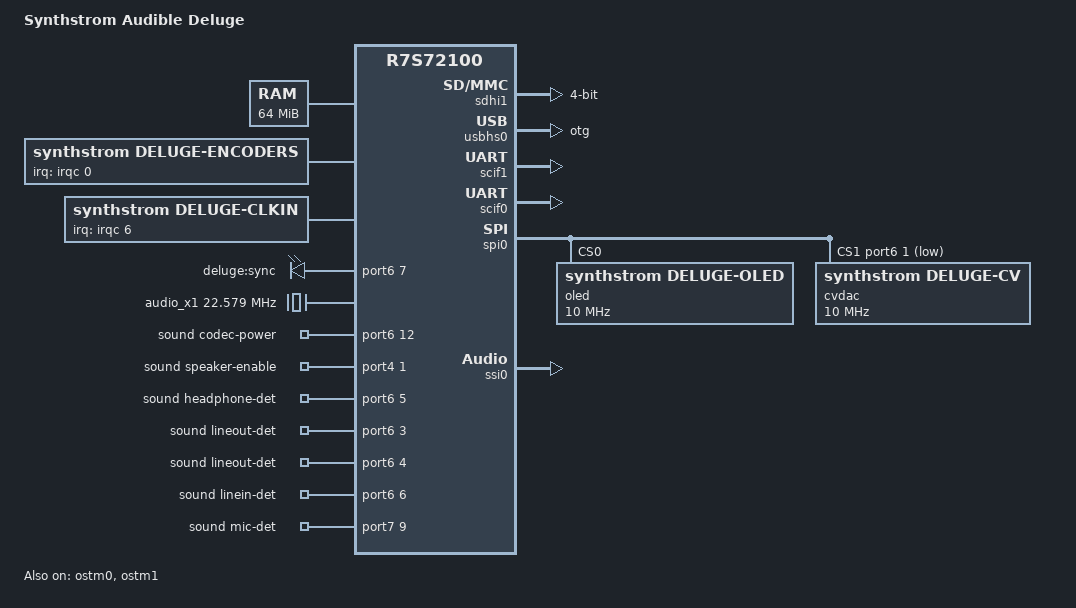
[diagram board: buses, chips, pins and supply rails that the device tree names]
// SPDX-License-Identifier: GPL-2.0
/*
 * Device tree for the Synthstrom Audible Deluge (Renesas RZ/A1L, R7S72102).
 *
 * Full board: SD boot (sdhi1), USB (usbhs0), the PIC32 front-panel link
 * (scif1, pads/buttons/LEDs/7-seg/OLED all mediated through it), DIN MIDI
 * (scif0), 6 rotary encoders, analog clock input (clkin), CV/gate, the RGB
 * pad grid, and the SSI0 audio path — no UART is wired out on this board, so
 * the console is a SEGGER RTT block in SRAM read by J-Link, matching U-Boot.
 *
 * Cortex-A9 @ ~400 MHz, 64 MB SDRAM at 0x0C000000 (CS3), 13.2256 MHz crystal.
 */

/dts-v1/;
#include "r7s72100.dtsi"
#include <dt-bindings/pinctrl/r7s72100-pinctrl.h>
#include <dt-bindings/interrupt-controller/irq.h>
#include <dt-bindings/interrupt-controller/arm-gic.h>
#include <dt-bindings/gpio/gpio.h>

/ {
	model = "Synthstrom Audible Deluge";
	compatible = "synthstrom,deluge", "renesas,r7s72100";

	memory@c000000 {
		device_type = "memory";
		reg = <0x0c000000 0x04000000>;	/* 64 MB SDRAM on CS3 */
	};

	chosen {
		/*
		 * RTT earlycon: writes to the SEGGER RTT block at SRAM
		 * 0x20080000 (set up by U-Boot), read by J-Link in the
		 * background, and stays active as the console. No UART is
		 * wired out on this board.
		 */
		bootargs = "earlycon=rtt,0x20080000 ignore_loglevel";
	};
};

/* Deluge crystal is 13.2256 MHz (genmai/rskrza1 use 13.33 MHz). */
&extal_clk {
	clock-frequency = <13225600>;
};

/* Dedicated 48 MHz USB clock (USB_X1). The renesas_usbhs RZ/A1 init
 * (drivers/usb/renesas_usbhs/rza.c) requires either a non-zero usb_x1
 * clock-frequency (→ UCKSEL=0, 48 MHz USB_X1) or extal==12 MHz; our EXTAL is
 * 13.2256 MHz, so the USB clock MUST come from usb_x1 or the UDC probe fails
 * with "A 48MHz USB clock or 12MHz main clock is required." */
&usb_x1_clk {
	clock-frequency = <48000000>;
};

/* OSTM timers: the renesas-ostm driver makes the FIRST enabled OSTM the
 * clocksource and the SECOND the clockevent. Both are required — with only
 * ostm0 there is no hardware tick, so jiffies-based delays (msleep, usleep,
 * userspace sleep) stall and drivers that wait on them (e.g. MMC card
 * enumeration) never progress. Enable both, like the rskrza1 reference. */
&ostm0 {
	status = "okay";		/* clocksource */
};

&ostm1 {
	status = "okay";		/* clockevent (system tick) */
};

/* DMAC is the mainline "renesas,rz-dmac" node (#dma-cells=1), no nbpf override.
 * PIC (SCIF1) uses an rz-dmac slave_sg channel; MIDI (SCIF0) uses the SCIF
 * RXI/TXI GIC interrupts (no DMA) — so nothing needs nbpf's cyclic mode.
 *
 * Cap rz-dmac at 6 channels (ch0-5) so it does NOT claim ch6/7: deluge-ssi
 * raw-drives those for SSI0 TX/RX and owns their DMAINT (transfer-end)
 * interrupts directly. This matches the historical split ("nbpf keeps ch0-5;
 * we own ch6"). The PIC still gets a channel out of ch0-5. */
&dmac {
	dma-channels = <6>;
};

/*
 * On-chip large-capacity RAM (3 MB total @ 0x20000000). The bottom 1 MB
 * (0x20000000, incl. the 128 KB data-retention RAM and the SEGGER RTT console
 * block @ 0x20080000) is left alone. The upper 2 MB is split:
 *
 *  - 0x20100000, 1 MB: non-cached DMA gen_pool (mmio-sram). no-memory-wc =
 *    strictly non-cached, so allocations are DMA-coherent without barriers AND
 *    deterministic 0-wait for the RT audio path. Consumers (deluge-ssi,
 *    deluge-pic) take DMA descriptors and buffers from here to keep continuous
 *    DMA off the contended SDRAM bus (~75 KB used; 1 MB is ample headroom).
 *
 *  - 0x20200000, 1 MB: CACHED userspace scratch, handed to the Spark synth via
 *    /dev/deluge-sram (deluge-sram driver) for hot DSP data. Disjoint from the
 *    non-cached pool above — the two must NOT overlap, as mismatched cache
 *    attributes on the same physical address are UNPREDICTABLE on ARM.
 */
/ {
	sram: sram@20100000 {
		compatible = "mmio-sram";
		reg = <0x20100000 0x100000>;
		no-memory-wc;
		#address-cells = <1>;
		#size-cells = <1>;
		ranges = <0 0x20100000 0x100000>;
	};

	deluge_sram: sram-user@20200000 {
		compatible = "synthstrom,deluge-sram";
		reg = <0x20200000 0x100000>;
	};
};

/* SD card slot: SDHI1, 4-bit, on Port 7 alt-func 3 (the Deluge differs from
 * the rskrza1 reference, which puts SDHI1 on Port 3 func 7). Card-detect and
 * write-protect are native SDHI controller pins (SD_CD_1/SD_WP_1) read from
 * SD_INFO1 — no cd-gpios/wp-gpios. Card power is fixed 3.3 V in hardware (no
 * regulator/GPIO). SDK caps the clock at P1/4 ~= 16.7 MHz and does no HS
 * switch, so we bound max-frequency to the known-good rate. Source facts:
 * deluge-sdk crates/deluge-bsp/src/sd.rs + rza1l-hal/src/sdhi.rs. */
&pinctrl {
	sdhi1_pins: sdhi1 {
		pinmux = <RZA1_PINMUX(7, 0, 3)>,	/* SD_CD_1  */
			 <RZA1_PINMUX(7, 1, 3)>,	/* SD_WP_1  */
			 <RZA1_PINMUX(7, 2, 3)>,	/* SD_D1_1  */
			 <RZA1_PINMUX(7, 3, 3)>,	/* SD_D0_1  */
			 <RZA1_PINMUX(7, 4, 3)>,	/* SD_CLK_1 */
			 <RZA1_PINMUX(7, 5, 3)>,	/* SD_CMD_1 */
			 <RZA1_PINMUX(7, 6, 3)>,	/* SD_D3_1  */
			 <RZA1_PINMUX(7, 7, 3)>;	/* SD_D2_1  */
	};
};

&sdhi1 {
	pinctrl-names = "default";
	pinctrl-0 = <&sdhi1_pins>;
	bus-width = <4>;
	max-frequency = <16700000>;
	status = "okay";
};

/* USB channel 0 (the physical jack) as a peripheral/gadget: renesas_usbhs UDC
 * for a CDC-ACM console. Self-powered, VBUS sense-only (no vbus-supply), USB
 * pins are dedicated analog (no pinctrl). Role is software (DCFM) -> peripheral.
 * The Deluge jack is on channel 0 (usbhs0 @ 0xe8010000); usbhs1 is unused. */
&usbhs0 {
	/* Dual-role: renesas_usbhs ignores dr_mode and chooses the role via the
	 * "role" sysfs attribute (default = peripheral). "otg" is the honest
	 * description of the port's capability; the board supplies VBUS
	 * unconditionally from a step-down off the barrel jack. */
	dr_mode = "otg";
	status = "okay";
};

/* Rotary encoders: 6 encoders on port P1. Each has phase A on an IRQC
 * external-interrupt line (mux 2 = IRQ function) and phase B on a plain P1 GPIO
 * read from the port register. Custom driver (synthstrom,deluge-encoders) —
 * mainline rotary-encoder needs an IRQ per phase and the RZ/A1 has only 8 IRQ
 * lines. No bias: the board provides external pulls. */
&pinctrl {
	encoder_pins: encoders {
		pinmux = <RZA1_PINMUX(1, 8,  2)>,	/* scroll_y A / IRQ0 */
			 <RZA1_PINMUX(1, 5,  2)>,	/* mod1 A     / IRQ1 */
			 <RZA1_PINMUX(1, 6,  2)>,	/* tempo A    / IRQ2 */
			 <RZA1_PINMUX(1, 11, 2)>,	/* scroll_x A / IRQ3 */
			 <RZA1_PINMUX(1, 0,  2)>,	/* mod0 A     / IRQ4 */
			 <RZA1_PINMUX(1, 3,  2)>;	/* select A   / IRQ7 */
	};
};

/ {
	encoders {
		compatible = "synthstrom,deluge-encoders";
		/* RZ/A1 P1 Port Pin Read register (pinctrl@fcfe3000 + 0x204); read
		 * directly for encoder phase A/B levels (pin is IRQ-muxed, so gpiod
		 * can't read it). Region owned by pinctrl, so the driver ioremaps
		 * without claiming it. */
		synthstrom,port-read-reg = <0xfcfe3204>;
		pinctrl-names = "default";
		pinctrl-0 = <&encoder_pins>;
		interrupt-parent = <&irqc>;
		interrupts = <0 IRQ_TYPE_EDGE_BOTH>,	/* scroll_y */
			     <1 IRQ_TYPE_EDGE_BOTH>,	/* mod1 */
			     <2 IRQ_TYPE_EDGE_BOTH>,	/* tempo */
			     <3 IRQ_TYPE_EDGE_BOTH>,	/* scroll_x */
			     <4 IRQ_TYPE_EDGE_BOTH>,	/* mod0 */
			     <7 IRQ_TYPE_EDGE_BOTH>;	/* select */
	};
};

/* PIC32 front-panel link: SCIF1 @ 200000 (after a 31250 handshake). The
 * PIC owns the 144 pads, 36 buttons, LEDs and 7-seg; it talks a flat byte stream
 * over SCIF1. A serdev driver (synthstrom,deluge-pic) decodes pads+buttons into
 * an evdev device. TxD1=P3.15 mux5, RxD1=P1.9 mux3 (no conflict with encoders).
 * Must NOT be a console so serdev can claim it. */
&pinctrl {
	scif1_pins: scif1 {
		pinmux = <RZA1_PINMUX(3, 15, 5)>,	/* TxD1 */
			 <RZA1_PINMUX(1, 9,  3)>;	/* RxD1 */
	};
};

&pinctrl {
	clkin_pins: clkin {
		pinmux = <RZA1_PINMUX(1, 14, 2)>;	/* P1.14 alt-2 = IRQ6 */
	};
};

/ {
	/* Analog clock input: P1.14 -> IRQC IRQ6, falling edge (transistor
	 * inverts the external pulse). Emitted as evdev EV_MSC/MSC_RAW, one event
	 * per pulse. */
	clkin {
		compatible = "synthstrom,deluge-clkin";
		pinctrl-names = "default";
		pinctrl-0 = <&clkin_pins>;
		interrupt-parent = <&irqc>;
		interrupts = <6 IRQ_TYPE_EDGE_FALLING>;
	};
};

/* Gate outputs (V-trig, active-low: 0 = gate ON). Exposed as named GPIO
 * character-device lines; userspace claims them active-low via the GPIO v2 uAPI.
 * P2.7/8/9 = gate0/1/2, P4.0 = gate3. */
&port2 {
	gpio-line-names =
		"", "", "", "", "", "", "",
		"deluge-gate0",		/* P2.7 */
		"deluge-gate1",		/* P2.8 */
		"deluge-gate2";		/* P2.9 */
};

&port4 {
	gpio-line-names = "deluge-gate3";	/* P4.0 */
};

/*
 * SCIF1 drives the PIC32 front-panel. Take the node away from sh-sci by
 * overriding its compatible: the deluge-pic driver owns SCIF1 directly (its
 * registers + an rz-dmac slave_sg RX channel drained by a 1 ms poll), because
 * on RZ/A1 the SCIF RX-FIFO request is wired to the DMAC, not the GIC, and the
 * tty/serial layer could not drive that reliably. DMARS terminal 0x066 = SCIF1
 * RXI; level/high request line (encoded in the dmas config nibble).
 */
&scif1 {
	compatible = "synthstrom,deluge-pic";
	pinctrl-names = "default";
	pinctrl-0 = <&scif1_pins>;
	/* SCIF1 RXI: MID/RID 0x66 (DMARS, as nbpf used) | config 0x2C00.
	 * rz-dmac decodes cfg = args[0][15:10]: bit0->HIEN, bit1->LVL,
	 * bits[4:2]->AM. 0x2C00>>10 = 0x0B = HIEN|LVL|AM(0x200), reproducing
	 * the proven nbpf CHCFG (DMS|SAD|HIEN|LVL|AM added by the driver).
	 * The previous 0x2466 dropped LVL -> SCIF RXI (a *level* request) was
	 * sensed as an edge, so the channel armed but never drained the FIFO. */
	dmas = <&dmac 0x2C66>;
	dma-names = "rx";
	sram = <&sram>;			/* DMA RX ring in on-chip SRAM */
	status = "okay";
};

&pinctrl {
	scif0_pins: scif0 {
		pinmux = <RZA1_PINMUX(6, 15, 5)>,	/* TxD0 (MIDI OUT) */
			 <RZA1_PINMUX(6, 14, 5)>;	/* RxD0 (MIDI IN)  */
	};
};

/*
 * DIN 5-pin MIDI over SCIF0 @ 31250 bps. At this low rate the SCIF's own GIC
 * interrupts carry MIDI directly (no DMA): deluge-midi uses the RXI/TXI lines
 * (interrupts + interrupt-names inherited from the base r7s72100.dtsi scif0
 * node) and registers as an ASoC aux component on the Deluge sound card
 * (rawmidi midiC0D0). This is what lets the DMAC be pure rz-dmac (no cyclic).
 */
&scif0 {
	compatible = "synthstrom,deluge-midi";
	pinctrl-names = "default";
	pinctrl-0 = <&scif0_pins>;
	status = "okay";
};

/*
 * OLED (SSD1309) pixel bus: RSPI0, P6_0=SCK P6_2=MOSI (func 3). No MISO/SSL —
 * the display is write-only and its chip-select is mediated by the PIC, so
 * leave SSL0 unmuxed. CS/D-C/power go through the deluge-pic node (&scif1).
 */
&pinctrl {
	rspi0_pins: rspi0 {
		pinmux = <RZA1_PINMUX(6, 0, 3)>,	/* RSPCK0 (SCK)  */
			 <RZA1_PINMUX(6, 2, 3)>;	/* MOSI0  (MOSI) */
	};
};

&spi0 {
	pinctrl-names = "default";
	pinctrl-0 = <&rspi0_pins>;
	status = "okay";
	/* index 0 = OLED (native/PIC-mediated, unchanged); index 1 = CV DAC on P6.1. */
	cs-gpios = <0>, <&port6 1 GPIO_ACTIVE_LOW>;

	oled: oled@0 {
		compatible = "synthstrom,deluge-oled";
		reg = <0>;
		spi-max-frequency = <10000000>;
		synthstrom,pic = <&scif1>;	/* the deluge-pic device */
	};

	/* CV outputs: MAX5136 quad 16-bit DAC (2 channels wired). Shares the bus
	 * with the OLED; 8-bit words + gpio CS so the controller is never
	 * reconfigured. */
	cvdac: dac@1 {
		compatible = "synthstrom,deluge-cv";
		reg = <1>;
		spi-max-frequency = <10000000>;
	};
};

/*
 * Front-panel LED output: 36 indicator LEDs + 2 gold-knob 4-LED
 * columns, driven over the PIC (SCIF1 TX). LED-class consumer of deluge-pic.
 */
/ {
	deluge_leds: leds {
		compatible = "synthstrom,deluge-leds";
		synthstrom,pic = <&scif1>;
	};
};

/*
 * SYNC LED (P6_7): a plain GPIO LED, not PIC-mediated like the front-panel
 * indicators above. Exposed as /sys/class/leds/deluge:sync so libdeluge's
 * deluge_leds_sync() can drive it. Active-high (P6_7 high = lit), matching the
 * bare-metal SDK. P6_7 is otherwise unused; the RZ/A1 pinctrl gpio-ranges put
 * the pin in port mode on request, so no explicit pinmux entry is needed
 * (as with the CV-DAC / codec-power / jack-detect GPIOs).
 */
/ {
	deluge_sync_led: sync-led {
		compatible = "gpio-leds";
		led-sync {
			label = "deluge:sync";
			gpios = <&port6 7 GPIO_ACTIVE_HIGH>;
			default-state = "off";
		};
	};
};

/*
 * RGB pad grid: 18x8 pad LEDs as an fbdev, streamed to the PIC over
 * SCIF1 TX. Framebuffer consumer of deluge-pic.
 */
/ {
	deluge_pads: pads {
		compatible = "synthstrom,deluge-pads";
		synthstrom,pic = <&scif1>;
	};
};

/* ---- Audio: SSI0/SSIF0 I2S -> hardware-strapped codec ------------------ */
/* Direct SSI TX+RX DMA (no SCUX), 44.1 kHz / S24_LE / stereo, SSI master.
 * External 22.5792 MHz AUDIO_X1 crystal is the codec master clock (also the
 * SSI clock source, CKS=0). CODEC_POWER (P6.12) is raised by the machine
 * driver after a 5 ms mclk-stable delay; SPEAKER_ENABLE (P4.1, high = on-board
 * amplifier on) is raised after the card registers. */

/ {
	audio_x1: audio_x1 {
		compatible = "fixed-clock";
		#clock-cells = <0>;
		clock-frequency = <22579200>;	/* 512 x 44.1 kHz */
	};

	sound {
		compatible = "synthstrom,deluge-audio";
		sound-dai = <&ssi0>;		/* CPU DAI (ssi0 has #sound-dai-cells=<0>) */
		clocks = <&audio_x1>;
		clock-names = "mclk";
		codec-power-gpios = <&port6 12 GPIO_ACTIVE_HIGH>;
		speaker-enable-gpios = <&port4 1 GPIO_ACTIVE_HIGH>;
		synthstrom,midi = <&scif0>;	/* DIN MIDI aux component */
		/* Jack detect (high = inserted). The speaker amp mutes whenever a
		 * headphone or line-out is plugged (deluge-bsp/jacks.rs policy).
		 *
		 * Only the OUTPUT jacks drive that policy. The INPUT jacks
		 * (line-in, mic) do not affect the speaker and are declared purely
		 * so userspace can read them — completing the five detect lines the
		 * bare-metal SDK already exposes (deluge-bsp/src/jacks.rs pin map:
		 * HEADPHONE 6/5, LINE_IN 6/6, MIC 7/9, LINE_OUT_L 6/3,
		 * LINE_OUT_R 6/4). */
		headphone-det-gpios = <&port6 5 GPIO_ACTIVE_HIGH>;
		lineout-det-gpios = <&port6 3 GPIO_ACTIVE_HIGH>,	/* LINE_OUT_L */
				    <&port6 4 GPIO_ACTIVE_HIGH>;	/* LINE_OUT_R */
		linein-det-gpios = <&port6 6 GPIO_ACTIVE_HIGH>;
		mic-det-gpios = <&port7 9 GPIO_ACTIVE_HIGH>;
	};
};

&pinctrl {
	ssi0_pins: ssi0 {
		pinmux = <RZA1_PINMUX(6,  8, 3)>,	/* SSITXD0 */
			 <RZA1_PINMUX(6,  9, 3)>,	/* SSISCK0 */
			 <RZA1_PINMUX(6, 10, 3)>,	/* SSIWS0  */
			 <RZA1_PINMUX(6, 11, 3)>,	/* SSIRXD0 */
			 <RZA1_PINMUX(7, 11, 6)>;	/* AUDIO_XOUT (mclk out) */
	};
};

&{/soc} {
	/* MSTP11: SSI module clocks (absent from the SoC dtsi). */
	mstp11_clks: mstp11_clks@fcfe0440 {
		#clock-cells = <1>;
		compatible = "renesas,r7s72100-mstp-clocks",
			     "renesas,cpg-mstp-clocks";
		reg = <0xfcfe0440 4>;
		clocks = <&p1_clk>, <&p1_clk>, <&p1_clk>,
			 <&p1_clk>, <&p1_clk>, <&p1_clk>;
		clock-indices = <
			R7S72100_CLK_SSI0 R7S72100_CLK_SSI1 R7S72100_CLK_SSI2
			R7S72100_CLK_SSI3 R7S72100_CLK_SSI4 R7S72100_CLK_SSI5
		>;
		clock-output-names = "ssi0", "ssi1", "ssi2",
				     "ssi3", "ssi4", "ssi5";
	};

	ssi0: ssi@e820b000 {
		compatible = "synthstrom,deluge-ssi";
		reg = <0xe820b000 0x40>;	/* SSI0 */
		/* The driver drives DMAC ch6 (TX) / ch7 (RX) directly (raw
		 * link-descriptor DMA): it ioremaps the DMAC (0xe8200000) + DMARS
		 * (0xfcfe1000) at fixed addresses. It owns the ch6/ch7 transfer-end
		 * (DMAINT) interrupts to advance the ALSA period pointer — GIC SPI
		 * 15/16 (= DMAC per-channel IRQ 6/7). rz-dmac is capped to ch0-5 so
		 * these are free. */
		interrupts = <GIC_SPI 15 IRQ_TYPE_EDGE_RISING>,	/* ch6 = SSI0 TX */
			     <GIC_SPI 16 IRQ_TYPE_EDGE_RISING>;	/* ch7 = SSI0 RX */
		interrupt-names = "tx", "rx";
		sram = <&sram>;			/* DMA descriptors + audio buffer in on-chip SRAM */
		clocks = <&mstp11_clks R7S72100_CLK_SSI0>, <&audio_x1>;
		clock-names = "ssi", "audio_clk1";
		pinctrl-names = "default";
		pinctrl-0 = <&ssi0_pins>;
		#sound-dai-cells = <0>;
	};
};
